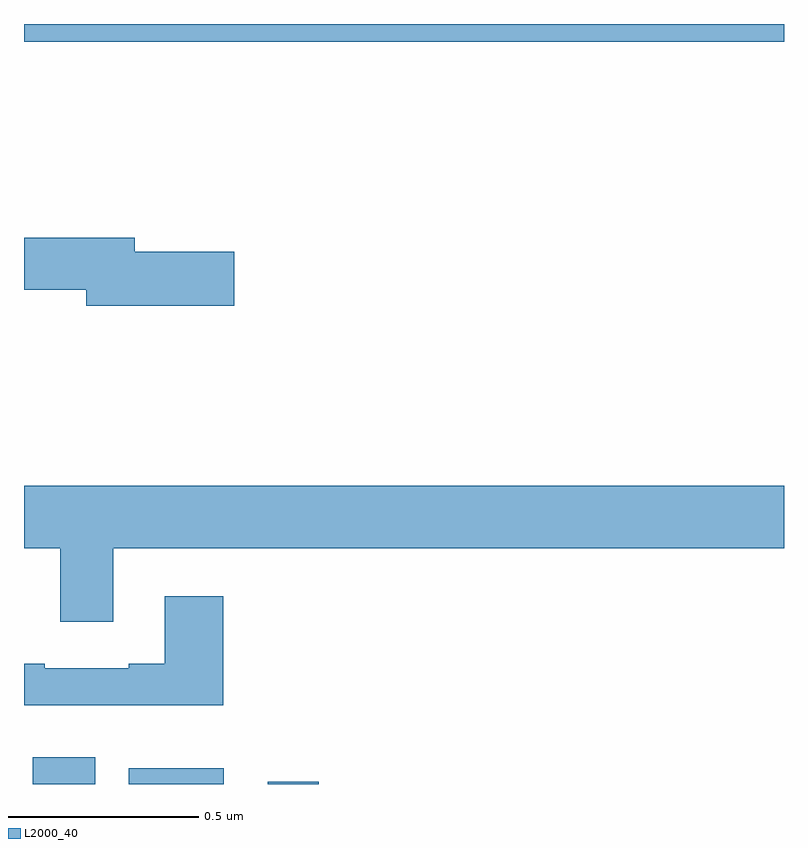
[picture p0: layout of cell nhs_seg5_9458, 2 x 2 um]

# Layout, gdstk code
import gdstk
lib = gdstk.Library(unit=1e-6, precision=1e-09)
def R(c, l, rs):  # rectangles x0, y0, x1, y1
    for r in rs: c.add(gdstk.rectangle(r[:2], r[2:], *l))
def P(c, l, *ps):  # polygons
    for p in ps: c.add(gdstk.Polygon(p, *l))
L2000_40 = (2000, 40)

nhs_seg5_9458 = lib.new_cell('nhs_seg5_9458')
R(nhs_seg5_9458, L2000_40, [(234.023,862.799,234.187,862.87), (234.275,862.799,234.526,862.84), (234.642,862.799,234.775,862.805), (234,864.752,236,864.799)])
P(nhs_seg5_9458, L2000_40, [(234.553,864.2),(234.292,864.2),(234.292,864.236),(234,864.236),(234,864.1),(234.164,864.1),(234.164,864.058),(234.553,864.058)],
  [(234.235,863.42),(236,863.42),(236,863.584),(234,863.584),(234,863.42),(234.095,863.42),(234.095,863.226),(234.235,863.226)],
  [(234.524,863.293),(234.371,863.293),(234.371,863.116),(234.275,863.116),(234.275,863.103),(234.055,863.103),(234.055,863.116),(234,863.116),(234,863.006),(234.524,863.006)])

lib.write_gds('nhs_seg5_9458.gds')
